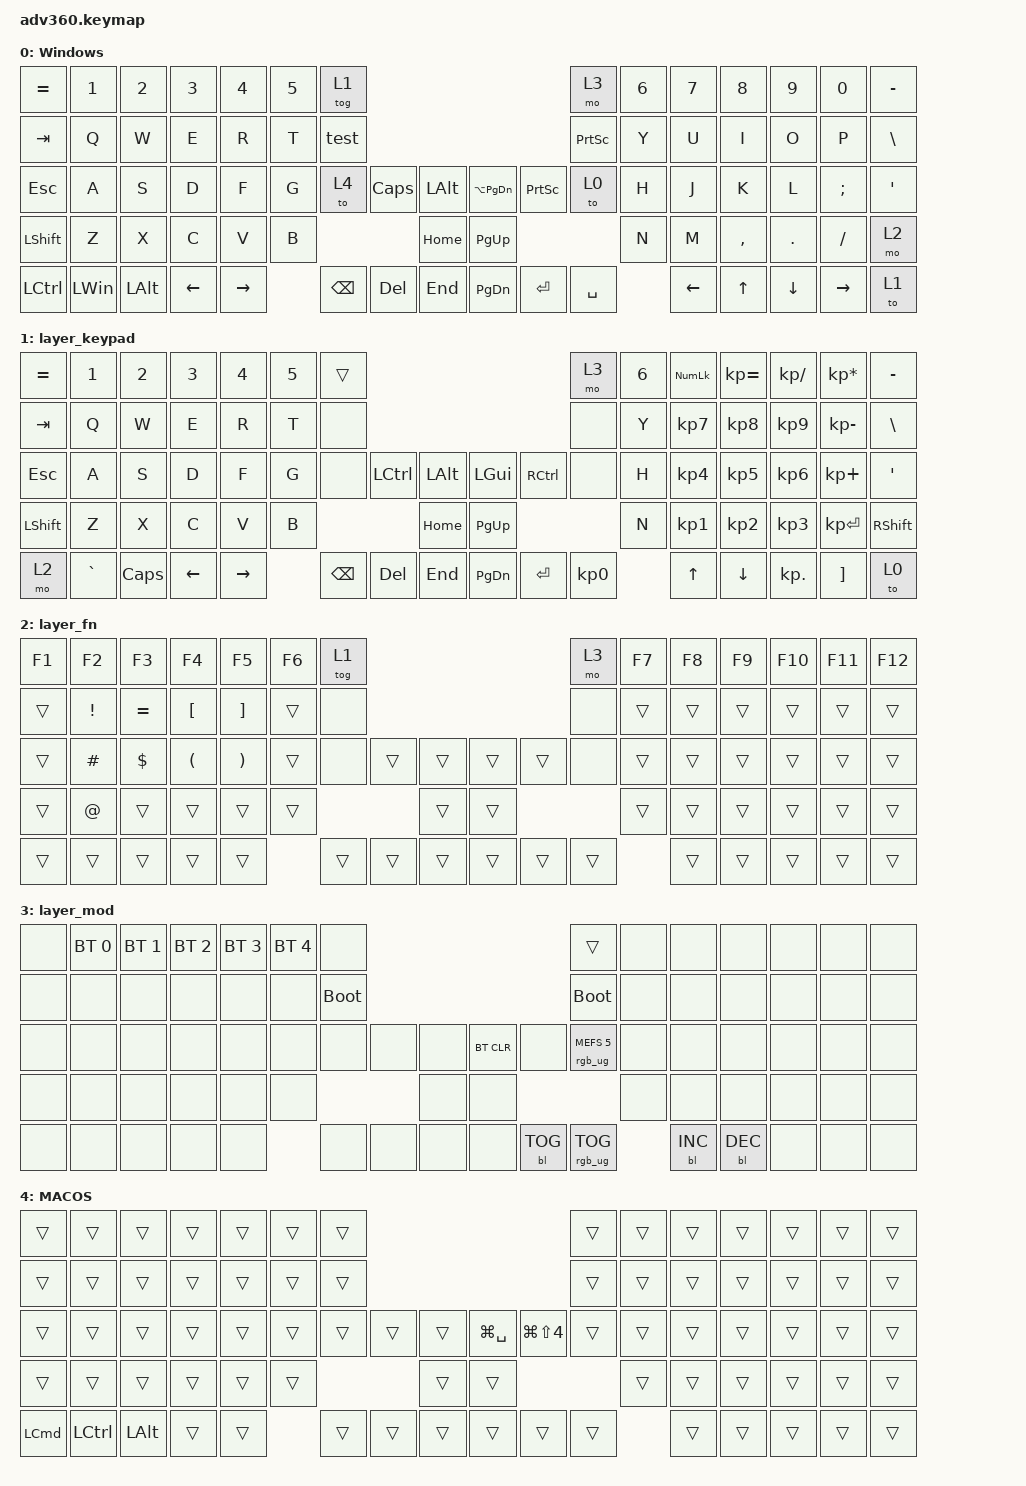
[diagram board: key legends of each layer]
/*
 * Copyright (c) 2020 The ZMK Contributors
 *
 * SPDX-License-Identifier: MIT
 */
/* THIS FILE WAS GENERATED!
 *
 * This file was generated automatically. You may or may not want to
 * edit it directly.
 */

#include <behaviors.dtsi>
#include <dt-bindings/zmk/backlight.h>
#include <dt-bindings/zmk/bt.h>
#include <dt-bindings/zmk/keys.h>
#include <dt-bindings/zmk/rgb.h>

/ {
    behaviors {
        #include "macros.dtsi"

        hm: homerow_mods {
            compatible = "zmk,behavior-hold-tap";
            label = "HOMEROW_MODS";
            #binding-cells = <2>;
            tapping-term-ms = <200>;
            quick_tap_ms = <175>;
            flavor = "tap-preferred";
            bindings = <&kp>, <&kp>;
        };
    };

    macros {
        test: test {
            compatible = "zmk,behavior-macro";
            #binding-cells = <0>;
            bindings = <&kp DOUBLE_QUOTES &kp DOUBLE_QUOTES &kp LEFT_ARROW>;
            label = "TEST";
        };
    };

    keymap {
        compatible = "zmk,keymap";

        Windows {
            bindings = <
&kp EQUAL  &kp N1        &kp N2    &kp N3          &kp N4           &kp N5  &tog 1                                                                &mo 3            &kp N6  &kp N7    &kp N8     &kp N9    &kp N0     &kp MINUS
&kp TAB    &kp Q         &kp W     &kp E           &kp R            &kp T   &test                                                                 &kp PRINTSCREEN  &kp Y   &kp U     &kp I      &kp O     &kp P      &kp BSLH
&kp ESC    &kp A         &kp S     &kp D           &kp F            &kp G   &to 4     &kp CAPS  &kp LALT      &kp LA(PAGE_DOWN)  &kp PRINTSCREEN  &to 0            &kp H   &kp J     &kp K      &kp L     &kp SEMI   &kp SQT
&kp LSHFT  &kp Z         &kp X     &kp C           &kp V            &kp B                       &kp HOME      &kp PG_UP                                            &kp N   &kp M     &kp COMMA  &kp DOT   &kp FSLH   &mo 2
&kp LCTRL  &kp LEFT_WIN  &kp LALT  &kp LEFT_ARROW  &kp RIGHT_ARROW          &kp BSPC  &kp DEL   &kp END       &kp PG_DN          &kp ENTER        &kp SPACE                &kp LEFT  &kp UP     &kp DOWN  &kp RIGHT  &to 1
            >;
        };

        layer_keypad {
            bindings = <
&kp EQUAL  &kp N1     &kp N2    &kp N3    &kp N4     &kp N5  &trans                                                   &mo 3      &kp N6  &kp KP_NUM  &kp KP_EQUAL  &kp KP_DIVIDE  &kp KP_MULTIPLY  &kp MINUS
&kp TAB    &kp Q      &kp W     &kp E     &kp R      &kp T   &none                                                    &none      &kp Y   &kp KP_N7   &kp KP_N8     &kp KP_N9      &kp KP_MINUS     &kp BSLH
&kp ESC    &kp A      &kp S     &kp D     &kp F      &kp G   &none     &kp LCTRL  &kp LALT      &kp LGUI   &kp RCTRL  &none      &kp H   &kp KP_N4   &kp KP_N5     &kp KP_N6      &kp KP_PLUS      &kp SQT
&kp LSHFT  &kp Z      &kp X     &kp C     &kp V      &kp B                        &kp HOME      &kp PG_UP                        &kp N   &kp KP_N1   &kp KP_N2     &kp KP_N3      &kp KP_ENTER     &kp RSHFT
&mo 2      &kp GRAVE  &kp CAPS  &kp LEFT  &kp RIGHT          &kp BSPC  &kp DEL    &kp END       &kp PG_DN  &kp ENTER  &kp KP_N0          &kp UP      &kp DOWN      &kp KP_DOT     &kp RBKT         &to 0
            >;
        };

        layer_fn {
            bindings = <
&kp F1  &kp F2           &kp F3      &kp F4                &kp F5                 &kp F6  &tog 1                                      &mo 3   &kp F7  &kp F8  &kp F9  &kp F10  &kp F11  &kp F12
&trans  &kp EXCLAMATION  &kp EQUAL   &kp LEFT_BRACKET      &kp RIGHT_BRACKET      &trans  &none                                       &none   &trans  &trans  &trans  &trans   &trans   &trans
&trans  &kp HASH         &kp DOLLAR  &kp LEFT_PARENTHESIS  &kp RIGHT_PARENTHESIS  &trans  &none   &trans  &trans      &trans  &trans  &none   &trans  &trans  &trans  &trans   &trans   &trans
&trans  &kp AT_SIGN      &trans      &trans                &trans                 &trans                  &trans      &trans                  &trans  &trans  &trans  &trans   &trans   &trans
&trans  &trans           &trans      &trans                &trans                         &trans  &trans  &trans      &trans  &trans  &trans          &trans  &trans  &trans   &trans   &trans
            >;
        };

        layer_mod {
            bindings = <
&none  &bt BT_SEL 0  &bt BT_SEL 1  &bt BT_SEL 2  &bt BT_SEL 3  &bt BT_SEL 4  &none                                                  &trans                  &none  &none       &none       &none  &none  &none
&none  &none         &none         &none         &none         &none         &bootloader                                            &bootloader             &none  &none       &none       &none  &none  &none
&none  &none         &none         &none         &none         &none         &none        &none  &none      &bt BT_CLR  &none       &rgb_ug RGB_MEFS_CMD 5  &none  &none       &none       &none  &none  &none
&none  &none         &none         &none         &none         &none                             &none      &none                                           &none  &none       &none       &none  &none  &none
&none  &none         &none         &none         &none                       &none        &none  &none      &none       &bl BL_TOG  &rgb_ug RGB_TOG                &bl BL_INC  &bl BL_DEC  &none  &none  &none
            >;
        };

        MACOS {
            bindings = <
&trans            &trans     &trans    &trans  &trans  &trans  &trans                                                           &trans  &trans  &trans  &trans  &trans  &trans  &trans
&trans            &trans     &trans    &trans  &trans  &trans  &trans                                                           &trans  &trans  &trans  &trans  &trans  &trans  &trans
&trans            &trans     &trans    &trans  &trans  &trans  &trans  &trans  &trans      &kp LG(SPACE)  &kp LG(LS(NUMBER_4))  &trans  &trans  &trans  &trans  &trans  &trans  &trans
&trans            &trans     &trans    &trans  &trans  &trans                  &trans      &trans                                       &trans  &trans  &trans  &trans  &trans  &trans
&kp LEFT_COMMAND  &kp LCTRL  &kp LALT  &trans  &trans          &trans  &trans  &trans      &trans         &trans                &trans          &trans  &trans  &trans  &trans  &trans
            >;
        };
    };
};
